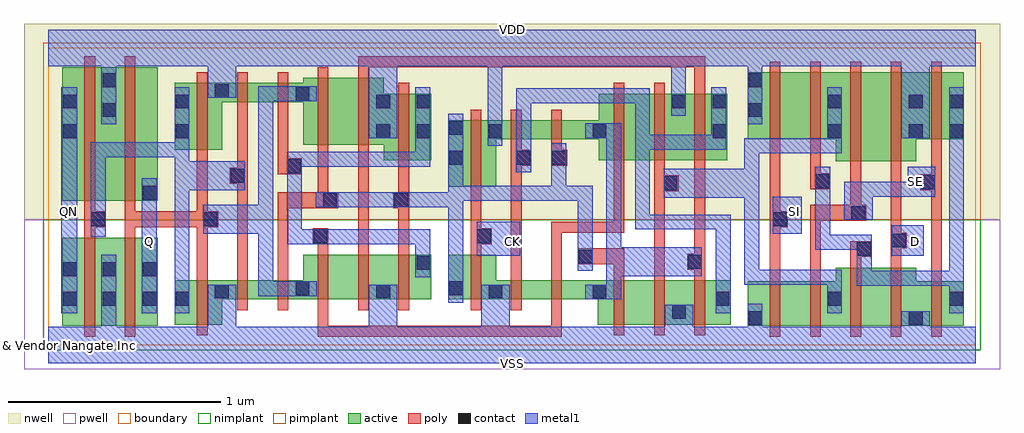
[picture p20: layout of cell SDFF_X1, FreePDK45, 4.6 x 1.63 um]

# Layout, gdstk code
import gdstk
lib = gdstk.Library(unit=1e-6, precision=1e-10)
def R(c, l, rs):  # rectangles x0, y0, x1, y1
    for r in rs: c.add(gdstk.rectangle(r[:2], r[2:], *l))
def P(c, l, *ps):  # polygons
    for p in ps: c.add(gdstk.Polygon(p, *l))
active = (1, 0)
pwell = (2, 0)
nwell = (3, 0)
nimplant = (4, 0)
pimplant = (5, 0)
poly = (9, 0)
contact = (10, 0)
metal1 = (11, 0)
boundary = (235, 0)

sdff_x1 = lib.new_cell('SDFF_X1')
R(sdff_x1, active, [(0.065,0.09,0.515,0.505), (0.065,0.68,0.515,1.31)])
P(sdff_x1, active, [(0.595,0.095),(0.595,0.305),(1.2,0.305),(1.2,0.425),(1.805,0.425),(1.805,0.215),(0.82,0.215),(0.82,0.095)],
  [(1.58,0.87),(1.58,0.945),(1.2,0.945),(1.2,1.145),(0.82,1.145),(0.82,0.92),(0.595,0.92),(0.595,1.235),(1.2,1.235),(1.2,1.26),(1.58,1.26),(1.58,1.185),(1.805,1.185),(1.805,0.87)],
  [(1.885,0.745),(1.885,1.06),(2.595,1.06),(2.595,1.185),(3.2,1.185),(3.2,0.87),(2.595,0.87),(2.595,0.97),(2.11,0.97),(2.11,0.745)],
  [(2.59,0.095),(2.59,0.215),(1.885,0.215),(1.885,0.425),(2.11,0.425),(2.11,0.305),(3.215,0.305),(3.215,0.095)],
  [(3.295,0.09),(3.295,0.3),(3.71,0.3),(3.71,0.365),(4.09,0.365),(4.09,0.3),(4.315,0.3),(4.315,0.09)],
  [(3.71,0.865),(3.71,0.97),(3.295,0.97),(3.295,1.285),(4.315,1.285),(4.315,0.97),(4.09,0.97),(4.09,0.865)])
R(sdff_x1, pwell, [(-0.115,-0.115,4.485,0.59)])
R(sdff_x1, nwell, [(-0.115,0.59,4.485,1.515)])
R(sdff_x1, nimplant, [(-0.025,-0.025,4.395,0.59)])
R(sdff_x1, pimplant, [(-0.025,0.59,4.395,1.425)])
P(sdff_x1, poly, [(0.17,0.04),(0.17,1.36),(0.22,1.36),(0.22,0.63),(0.27,0.63),(0.27,0.555),(0.22,0.555),(0.22,0.04)],
  [(0.36,0.04),(0.36,1.36),(0.41,1.36),(0.41,0.63),(0.7,0.63),(0.7,1.285),(0.75,1.285),(0.75,0.63),(0.8,0.63),(0.8,0.555),(0.75,0.555),(0.75,0.045),(0.7,0.045),(0.7,0.555),(0.41,0.555),(0.41,0.04)],
  [(0.89,0.165),(0.89,0.76),(0.855,0.76),(0.855,0.835),(0.89,0.835),(0.89,1.285),(0.94,1.285),(0.94,0.165)],
  [(1.08,0.805),(1.08,1.285),(1.13,1.285),(1.13,0.88),(1.195,0.88),(1.195,0.805)],
  [(1.08,0.165),(1.08,0.72),(1.27,0.72),(1.27,1.31),(1.32,1.31),(1.32,0.72),(1.365,0.72),(1.365,0.645),(1.13,0.645),(1.13,0.165)],
  [(1.65,0.165),(1.65,0.645),(1.625,0.645),(1.625,0.72),(1.65,0.72),(1.65,1.235),(1.7,1.235),(1.7,0.165)],
  [(1.99,0.165),(1.99,1.11),(2.04,1.11),(2.04,0.55),(2.09,0.55),(2.09,0.475),(2.04,0.475),(2.04,0.165)],
  [(2.18,0.165),(2.18,1.11),(2.23,1.11),(2.23,0.92),(2.275,0.92),(2.275,0.845),(2.23,0.845),(2.23,0.165)],
  [(2.37,0.845),(2.37,1.11),(2.42,1.11),(2.42,0.92),(2.445,0.92),(2.445,0.845)],
  [(2.665,0.045),(2.665,0.38),(2.495,0.38),(2.495,0.455),(2.715,0.455),(2.715,0.045)],
  [(1.27,0.04),(1.27,0.475),(1.245,0.475),(1.245,0.55),(1.32,0.55),(1.32,0.09),(2.37,0.09),(2.37,0.58),(2.665,0.58),(2.665,1.235),(2.715,1.235),(2.715,0.53),(2.42,0.53),(2.42,0.04)],
  [(2.855,0.045),(2.855,1.235),(2.905,1.235),(2.905,0.8),(2.97,0.8),(2.97,0.725),(2.905,0.725),(2.905,0.045)],
  [(3.045,0.045),(3.045,0.355),(3.01,0.355),(3.01,0.43),(3.045,0.43),(3.045,1.31),(1.51,1.31),(1.51,0.165),(1.46,0.165),(1.46,1.36),(3.095,1.36),(3.095,0.045)],
  [(3.4,0.04),(3.4,1.335),(3.45,1.335),(3.45,0.63),(3.485,0.63),(3.485,0.555),(3.45,0.555),(3.45,0.04)],
  [(3.59,0.735),(3.59,1.335),(3.64,1.335),(3.64,0.81),(3.685,0.81),(3.685,0.735)],
  [(3.59,0.04),(3.59,0.66),(3.78,0.66),(3.78,1.335),(3.83,1.335),(3.83,0.66),(3.855,0.66),(3.855,0.585),(3.64,0.585),(3.64,0.04)],
  [(3.78,0.04),(3.78,0.49),(3.88,0.49),(3.88,0.415),(3.83,0.415),(3.83,0.04)],
  [(3.97,0.04),(3.97,1.335),(4.02,1.335),(4.02,0.53),(4.045,0.53),(4.045,0.455),(4.02,0.455),(4.02,0.04)],
  [(4.16,0.04),(4.16,0.73),(4.11,0.73),(4.11,0.805),(4.16,0.805),(4.16,1.335),(4.21,1.335),(4.21,0.04)])
R(sdff_x1, contact, [(3.3,0.095,3.365,0.16), (4.055,0.095,4.12,0.16), (2.94,0.125,3.005,0.19), (0.07,0.185,0.135,0.25), (0.255,0.185,0.32,0.25), (0.445,0.185,0.51,0.25), (0.6,0.185,0.665,0.25), (3.145,0.185,3.21,0.25), (3.675,0.185,3.74,0.25), (4.245,0.185,4.31,0.25), (0.785,0.22,0.85,0.285), (1.545,0.22,1.61,0.285), (2.075,0.22,2.14,0.285), (2.565,0.22,2.63,0.285), (1.165,0.235,1.23,0.3), (1.89,0.235,1.955,0.3), (0.07,0.325,0.135,0.39), (0.255,0.325,0.32,0.39), (0.445,0.325,0.51,0.39), (1.735,0.355,1.8,0.42), (3.015,0.36,3.08,0.425), (2.5,0.385,2.565,0.45), (3.81,0.42,3.875,0.485), (3.975,0.46,4.04,0.525), (1.25,0.48,1.315,0.545), (2.02,0.48,2.085,0.545), (0.2,0.56,0.265,0.625), (0.73,0.56,0.795,0.625), (3.415,0.56,3.48,0.625), (3.785,0.59,3.85,0.655), (1.295,0.65,1.36,0.715), (1.63,0.65,1.695,0.715), (0.445,0.685,0.51,0.75), (2.9,0.73,2.965,0.795), (4.115,0.735,4.18,0.8), (3.615,0.74,3.68,0.805), (0.86,0.765,0.925,0.83), (1.125,0.81,1.19,0.875), (1.89,0.85,1.955,0.915), (2.205,0.85,2.27,0.915), (2.375,0.85,2.44,0.915), (0.07,0.975,0.135,1.04), (0.6,0.975,0.665,1.04), (1.545,0.975,1.61,1.04), (1.735,0.975,1.8,1.04), (2.075,0.975,2.14,1.04), (2.565,0.975,2.63,1.04), (3.13,0.975,3.195,1.04), (3.675,0.975,3.74,1.04), (4.055,0.975,4.12,1.04), (4.245,0.975,4.31,1.04), (1.89,0.99,1.955,1.055), (0.255,1.075,0.32,1.14), (3.3,1.075,3.365,1.14), (0.07,1.115,0.135,1.18), (0.6,1.115,0.665,1.18), (1.545,1.115,1.61,1.18), (1.735,1.115,1.8,1.18), (2.94,1.115,3.005,1.18), (3.13,1.115,3.195,1.18), (3.675,1.115,3.74,1.18), (4.055,1.115,4.12,1.18), (4.245,1.115,4.31,1.18), (1.165,1.15,1.23,1.215), (0.785,1.165,0.85,1.23), (0.255,1.215,0.32,1.28), (3.3,1.215,3.365,1.28)])
R(sdff_x1, metal1, [(0.06,0.15,0.135,1.215), (0.44,0.15,0.51,0.785), (2.02,0.42,2.225,0.58), (3.975,0.42,4.125,0.565), (3.415,0.525,3.55,0.7)])
P(sdff_x1, metal1, [(0.595,0.15),(0.595,0.885),(0.27,0.885),(0.27,0.51),(0.2,0.51),(0.2,0.955),(0.595,0.955),(0.595,1.215),(0.665,1.215),(0.665,0.865),(0.925,0.865),(0.925,0.73),(0.665,0.73),(0.665,0.15)],
  [(0.99,0.23),(0.99,0.525),(0.73,0.525),(0.73,0.66),(0.99,0.66),(0.99,1.22),(1.265,1.22),(1.265,1.15),(1.06,1.15),(1.06,0.3),(1.265,0.3),(1.265,0.23)],
  [(1.73,0.32),(1.73,0.475),(1.125,0.475),(1.125,0.91),(1.73,0.91),(1.73,1.215),(1.8,1.215),(1.8,0.84),(1.195,0.84),(1.195,0.545),(1.8,0.545),(1.8,0.32)],
  [(1.885,0.2),(1.885,0.65),(1.26,0.65),(1.26,0.72),(1.885,0.72),(1.885,1.09),(1.955,1.09),(1.955,0.75),(2.37,0.75),(2.37,0.95),(2.44,0.95),(2.44,0.75),(2.565,0.75),(2.565,0.35),(2.495,0.35),(2.495,0.68),(1.955,0.68),(1.955,0.2)],
  [(2.53,0.215),(2.53,0.285),(2.63,0.285),(2.63,0.975),(2.53,0.975),(2.53,1.045),(2.7,1.045),(2.7,0.46),(3.08,0.46),(3.08,0.325),(2.7,0.325),(2.7,0.215)],
  [(3.145,0.15),(3.145,0.545),(2.765,0.545),(2.765,1.14),(2.275,1.14),(2.275,0.815),(2.205,0.815),(2.205,1.21),(2.835,1.21),(2.835,0.99),(3.125,0.99),(3.125,1.215),(3.195,1.215),(3.195,0.92),(2.835,0.92),(2.835,0.615),(3.215,0.615),(3.215,0.15)],
  [(3.67,0.15),(3.67,0.285),(3.28,0.285),(3.28,0.695),(2.9,0.695),(2.9,0.83),(3.28,0.83),(3.28,0.975),(3.67,0.975),(3.67,1.215),(3.74,1.215),(3.74,0.905),(3.35,0.905),(3.35,0.355),(3.74,0.355),(3.74,0.15)],
  [(3.75,0.59),(3.75,0.77),(4.05,0.77),(4.05,0.84),(4.18,0.84),(4.18,0.7),(3.885,0.7),(3.885,0.59)],
  [(4.245,0.15),(4.245,0.28),(3.81,0.28),(3.81,0.45),(3.615,0.45),(3.615,0.84),(3.685,0.84),(3.685,0.52),(3.88,0.52),(3.88,0.35),(4.245,0.35),(4.245,1.215),(4.315,1.215),(4.315,0.15)],
  [(0,-0.085),(0,0.085),(0.25,0.085),(0.25,0.425),(0.32,0.425),(0.32,0.085),(0.75,0.085),(0.75,0.285),(0.885,0.285),(0.885,0.085),(1.51,0.085),(1.51,0.285),(1.645,0.285),(1.645,0.085),(2.04,0.085),(2.04,0.285),(2.175,0.285),(2.175,0.085),(2.905,0.085),(2.905,0.19),(3.04,0.19),(3.04,0.085),(3.295,0.085),(3.295,0.195),(3.365,0.195),(3.365,0.085),(4.02,0.085),(4.02,0.16),(4.155,0.16),(4.155,0.085),(4.37,0.085),(4.37,-0.085)],
  [(2.07,0.94),(2.07,1.315),(1.645,1.315),(1.645,0.975),(1.51,0.975),(1.51,1.315),(0.885,1.315),(0.885,1.165),(0.75,1.165),(0.75,1.315),(0.32,1.315),(0.32,1.04),(0.25,1.04),(0.25,1.315),(0,1.315),(0,1.485),(4.37,1.485),(4.37,1.315),(4.155,1.315),(4.155,0.975),(4.02,0.975),(4.02,1.315),(3.365,1.315),(3.365,1.04),(3.295,1.04),(3.295,1.315),(3.005,1.315),(3.005,1.08),(2.935,1.08),(2.935,1.315),(2.14,1.315),(2.14,0.94)])
R(sdff_x1, boundary, [(0,0,4.37,1.4)])
sdff_x1.add(gdstk.Label('CK', (2.185,0.49), layer=11, texttype=0))
sdff_x1.add(gdstk.Label('D', (4.085,0.49), layer=11, texttype=0))
sdff_x1.add(gdstk.Label('Q', (0.475,0.49), layer=11, texttype=0))
sdff_x1.add(gdstk.Label('QN', (0.095,0.63), layer=11, texttype=0))
sdff_x1.add(gdstk.Label('SE', (4.085,0.77), layer=11, texttype=0))
sdff_x1.add(gdstk.Label('SI', (3.515,0.63), layer=11, texttype=0))
sdff_x1.add(gdstk.Label('VDD', (2.185,1.485), layer=11, texttype=0))
sdff_x1.add(gdstk.Label('VSS', (2.185,-0.085), layer=11, texttype=0))
sdff_x1.add(gdstk.Label('& Vendor Nangate Inc', (0,0), layer=63, texttype=63))
sdff_x1.add(gdstk.Label('& Product Open Cell Library', (0,0), layer=63, texttype=63))
sdff_x1.add(gdstk.Label('& Version 2010_12', (0,0), layer=63, texttype=63))
sdff_x1.add(gdstk.Label('& Instance SDFF_X1', (0,0), layer=63, texttype=63))

lib.write_gds('SDFF_X1.gds')
